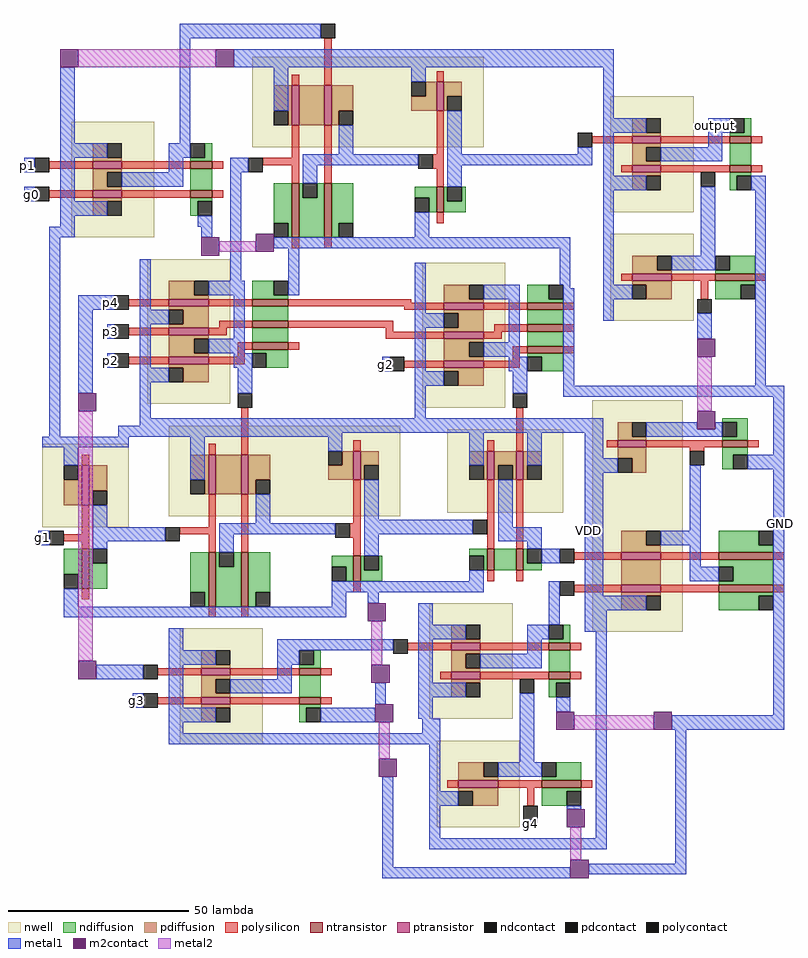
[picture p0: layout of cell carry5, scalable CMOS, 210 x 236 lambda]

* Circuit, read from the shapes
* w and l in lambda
.subckt carry5 GND VDD g0 g1 g2 g3 g4 output p1 p2 p3 p4
M1 n1 g1 GND VSUBS nfet w=11 l=2
M2 n2 g0 GND VSUBS nfet w=6 l=2
M3 n3 p1 n2 VSUBS nfet w=6 l=2
M4 n4 n1 GND VSUBS nfet w=15 l=2
M5 GND n5 n4 VSUBS nfet w=15 l=2
M6 n6 p2 n5 VSUBS nfet w=10 l=2
M7 n7 p3 n6 VSUBS nfet w=10 l=2
M8 GND p4 n7 VSUBS nfet w=10 l=2
M9 n8 n5 GND VSUBS nfet w=15 l=2
M10 n9 g3 GND VSUBS nfet w=6 l=2
M11 n10 p4 n9 VSUBS nfet w=6 l=2
M12 GND n3 n8 VSUBS nfet w=15 l=2
M13 n11 n4 GND VSUBS nfet w=7 l=2
M14 n12 n8 GND VSUBS nfet w=7 l=2
M15 n13 n11 GND VSUBS nfet w=6 l=2
M16 n14 n15 n13 VSUBS nfet w=6 l=2
M17 n16 g2 n15 VSUBS nfet w=10 l=2
M18 n17 p3 n16 VSUBS nfet w=10 l=2
M19 GND p4 n17 VSUBS nfet w=10 l=2
M20 n18 g4 GND VSUBS nfet w=11 l=2
M21 n19 n18 GND VSUBS nfet w=6 l=2
M22 n20 n10 n19 VSUBS nfet w=6 l=2
M23 n21 n22 GND VSUBS nfet w=11 l=2
M24 n23 n20 GND VSUBS nfet w=15 l=2
M25 GND n14 n23 VSUBS nfet w=15 l=2
M26 n22 n23 GND VSUBS nfet w=7 l=2
M27 n24 n21 GND VSUBS nfet w=6 l=2
M28 output n12 n24 VSUBS nfet w=6 l=2
M29 n1 g1 VDD n25 pfet w=11 l=2
M30 n3 g0 VDD n26 pfet w=8 l=2
M31 VDD p1 n3 n26 pfet w=8 l=2
M32 n5 p2 VDD n27 pfet w=11 l=2
M33 VDD p3 n5 n27 pfet w=11 l=2
M34 n5 p4 VDD n27 pfet w=11 l=2
M35 n10 g3 VDD n28 pfet w=8 l=2
M36 VDD p4 n10 n28 pfet w=8 l=2
M37 n29 n1 VDD n30 pfet w=11 l=2
M38 n4 n5 n29 n30 pfet w=11 l=2
M39 n31 n5 VDD n32 pfet w=11 l=2
M40 n8 n3 n31 n32 pfet w=11 l=2
M41 n11 n4 VDD n30 pfet w=8 l=2
M42 n12 n8 VDD n32 pfet w=8 l=2
M43 n15 g2 VDD n33 pfet w=11 l=2
M44 VDD p3 n15 n33 pfet w=11 l=2
M45 n15 p4 VDD n33 pfet w=11 l=2
M46 n20 n18 VDD n34 pfet w=8 l=2
M47 VDD n10 n20 n34 pfet w=8 l=2
M48 n18 g4 VDD n35 pfet w=11 l=2
M49 n14 n11 VDD n36 pfet w=8 l=2
M50 VDD n15 n14 n36 pfet w=8 l=2
M51 n22 n23 VDD n37 pfet w=8 l=2
M52 n38 n20 VDD n37 pfet w=11 l=2
M53 n23 n14 n38 n37 pfet w=11 l=2
M54 n21 n22 VDD n39 pfet w=11 l=2
M55 output n21 VDD n40 pfet w=8 l=2
M56 VDD n12 output n40 pfet w=8 l=2
.ends

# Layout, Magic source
magic
tech scmos
<< nwell >>
rect -206 145 -183 177
rect -156 170 -92 195
rect -57 152 -34 184
rect -185 99 -162 139
rect -109 98 -86 138
rect -57 122 -34 146
rect -214 65 -190 88
rect -179 68 -115 93
rect -102 69 -70 92
rect -176 5 -153 37
rect -107 12 -84 44
rect -62 36 -37 100
rect -105 -18 -82 6
<< ntransistor >>
rect -173 164 -167 166
rect -24 171 -18 173
rect -173 156 -167 158
rect -145 145 -143 160
rect -136 145 -134 160
rect -24 163 -18 165
rect -105 152 -103 159
rect -28 133 -17 135
rect -156 126 -146 128
rect -80 125 -70 127
rect -156 120 -146 122
rect -80 119 -70 121
rect -156 114 -146 116
rect -80 113 -70 115
rect -26 87 -19 89
rect -203 48 -201 59
rect -168 43 -166 58
rect -159 43 -157 58
rect -128 50 -126 57
rect -91 53 -89 59
rect -83 53 -81 59
rect -27 56 -12 58
rect -27 47 -12 49
rect -74 31 -68 33
rect -143 24 -137 26
rect -74 23 -68 25
rect -143 16 -137 18
rect -76 -7 -65 -5
<< ptransistor >>
rect -145 176 -143 187
rect -136 176 -134 187
rect -105 180 -103 188
rect -200 164 -192 166
rect -51 171 -43 173
rect -200 156 -192 158
rect -51 163 -43 165
rect -51 133 -40 135
rect -179 126 -168 128
rect -103 125 -92 127
rect -179 118 -168 120
rect -103 117 -92 119
rect -179 110 -168 112
rect -103 109 -92 111
rect -55 87 -47 89
rect -203 71 -201 82
rect -168 74 -166 85
rect -159 74 -157 85
rect -128 78 -126 86
rect -91 78 -89 86
rect -83 78 -81 86
rect -54 56 -43 58
rect -54 47 -43 49
rect -101 31 -93 33
rect -170 24 -162 26
rect -101 23 -93 25
rect -170 16 -162 18
rect -99 -7 -88 -5
<< ndiffusion >>
rect -169 167 -167 171
rect -173 166 -167 167
rect -173 158 -167 164
rect -20 174 -18 178
rect -24 173 -18 174
rect -24 165 -18 171
rect -173 155 -167 156
rect -173 151 -171 155
rect -150 149 -145 160
rect -146 145 -145 149
rect -143 156 -142 160
rect -138 156 -136 160
rect -143 145 -136 156
rect -134 149 -128 160
rect -111 156 -105 159
rect -107 152 -105 156
rect -103 155 -102 159
rect -98 155 -97 159
rect -24 162 -18 163
rect -24 158 -22 162
rect -103 152 -97 155
rect -134 145 -132 149
rect -24 136 -17 140
rect -28 135 -17 136
rect -156 129 -150 133
rect -156 128 -146 129
rect -80 128 -74 132
rect -28 132 -17 133
rect -28 128 -21 132
rect -80 127 -70 128
rect -156 122 -146 126
rect -156 116 -146 120
rect -80 121 -70 125
rect -156 113 -146 114
rect -152 109 -146 113
rect -80 115 -70 119
rect -80 112 -70 113
rect -76 108 -70 112
rect -26 94 -19 95
rect -22 90 -19 94
rect -26 89 -19 90
rect -26 85 -19 87
rect -26 81 -23 85
rect -208 52 -203 59
rect -204 48 -203 52
rect -201 55 -200 59
rect -201 48 -196 55
rect -173 47 -168 58
rect -169 43 -168 47
rect -166 54 -165 58
rect -161 54 -159 58
rect -166 43 -159 54
rect -157 47 -151 58
rect -96 57 -91 59
rect -134 54 -128 57
rect -130 50 -128 54
rect -126 53 -125 57
rect -121 53 -120 57
rect -92 53 -91 57
rect -89 53 -83 59
rect -81 55 -80 59
rect -27 60 -16 64
rect -27 58 -12 60
rect -81 53 -76 55
rect -126 50 -120 53
rect -157 43 -155 47
rect -27 54 -12 56
rect -23 50 -12 54
rect -27 49 -12 50
rect -27 46 -12 47
rect -27 42 -16 46
rect -139 27 -137 31
rect -70 34 -68 38
rect -74 33 -68 34
rect -143 26 -137 27
rect -74 25 -68 31
rect -143 18 -137 24
rect -74 22 -68 23
rect -74 18 -72 22
rect -143 15 -137 16
rect -143 11 -141 15
rect -72 -4 -65 0
rect -76 -5 -65 -4
rect -76 -8 -65 -7
rect -76 -12 -69 -8
<< pdiffusion >>
rect -150 180 -145 187
rect -146 176 -145 180
rect -143 176 -136 187
rect -134 180 -128 187
rect -108 184 -105 188
rect -112 180 -105 184
rect -103 184 -98 188
rect -103 180 -102 184
rect -134 176 -132 180
rect -200 167 -196 171
rect -200 166 -192 167
rect -200 163 -192 164
rect -200 159 -196 163
rect -200 158 -192 159
rect -51 174 -47 178
rect -51 173 -43 174
rect -51 170 -43 171
rect -51 166 -47 170
rect -51 165 -43 166
rect -200 155 -192 156
rect -200 151 -196 155
rect -51 162 -43 163
rect -51 158 -47 162
rect -51 136 -44 140
rect -51 135 -40 136
rect -179 129 -172 133
rect -179 128 -168 129
rect -51 132 -40 133
rect -103 128 -96 132
rect -103 127 -92 128
rect -47 128 -40 132
rect -179 125 -168 126
rect -175 121 -168 125
rect -103 124 -92 125
rect -179 120 -168 121
rect -179 117 -168 118
rect -179 113 -172 117
rect -99 120 -92 124
rect -103 119 -92 120
rect -103 116 -92 117
rect -179 112 -168 113
rect -179 109 -168 110
rect -103 112 -96 116
rect -175 105 -168 109
rect -103 111 -92 112
rect -103 108 -92 109
rect -99 104 -92 108
rect -55 90 -51 94
rect -55 89 -47 90
rect -204 78 -203 82
rect -208 71 -203 78
rect -201 75 -196 82
rect -201 71 -200 75
rect -173 78 -168 85
rect -169 74 -168 78
rect -166 74 -159 85
rect -157 78 -151 85
rect -131 82 -128 86
rect -135 78 -128 82
rect -126 82 -121 86
rect -126 78 -125 82
rect -96 82 -91 86
rect -92 78 -91 82
rect -89 82 -83 86
rect -89 78 -88 82
rect -84 78 -83 82
rect -81 82 -76 86
rect -81 78 -80 82
rect -55 84 -47 87
rect -51 80 -47 84
rect -157 74 -155 78
rect -54 60 -47 64
rect -54 58 -43 60
rect -54 49 -43 56
rect -54 46 -43 47
rect -54 42 -47 46
rect -101 34 -97 38
rect -170 27 -166 31
rect -170 26 -162 27
rect -101 33 -93 34
rect -101 30 -93 31
rect -101 26 -97 30
rect -101 25 -93 26
rect -170 23 -162 24
rect -170 19 -166 23
rect -170 18 -162 19
rect -101 22 -93 23
rect -101 18 -97 22
rect -170 15 -162 16
rect -170 11 -166 15
rect -99 -4 -92 0
rect -99 -5 -88 -4
rect -99 -8 -88 -7
rect -95 -12 -88 -8
<< ndcontact >>
rect -173 167 -169 171
rect -24 174 -20 178
rect -171 151 -167 155
rect -150 145 -146 149
rect -142 156 -138 160
rect -111 152 -107 156
rect -102 155 -98 159
rect -22 158 -18 162
rect -132 145 -128 149
rect -28 136 -24 140
rect -150 129 -146 133
rect -74 128 -70 132
rect -21 128 -17 132
rect -156 109 -152 113
rect -80 108 -76 112
rect -26 90 -22 94
rect -23 81 -19 85
rect -208 48 -204 52
rect -200 55 -196 59
rect -173 43 -169 47
rect -165 54 -161 58
rect -134 50 -130 54
rect -125 53 -121 57
rect -96 53 -92 57
rect -80 55 -76 59
rect -16 60 -12 64
rect -155 43 -151 47
rect -27 50 -23 54
rect -16 42 -12 46
rect -143 27 -139 31
rect -74 34 -70 38
rect -72 18 -68 22
rect -141 11 -137 15
rect -76 -4 -72 0
rect -69 -12 -65 -8
<< pdcontact >>
rect -150 176 -146 180
rect -112 184 -108 188
rect -102 180 -98 184
rect -132 176 -128 180
rect -196 167 -192 171
rect -196 159 -192 163
rect -47 174 -43 178
rect -47 166 -43 170
rect -196 151 -192 155
rect -47 158 -43 162
rect -44 136 -40 140
rect -172 129 -168 133
rect -96 128 -92 132
rect -51 128 -47 132
rect -179 121 -175 125
rect -172 113 -168 117
rect -103 120 -99 124
rect -96 112 -92 116
rect -179 105 -175 109
rect -103 104 -99 108
rect -51 90 -47 94
rect -208 78 -204 82
rect -200 71 -196 75
rect -173 74 -169 78
rect -135 82 -131 86
rect -125 78 -121 82
rect -96 78 -92 82
rect -88 78 -84 82
rect -80 78 -76 82
rect -55 80 -51 84
rect -155 74 -151 78
rect -47 60 -43 64
rect -47 42 -43 46
rect -97 34 -93 38
rect -166 27 -162 31
rect -97 26 -93 30
rect -166 19 -162 23
rect -97 18 -93 22
rect -166 11 -162 15
rect -92 -4 -88 0
rect -99 -12 -95 -8
<< polysilicon >>
rect -145 187 -143 190
rect -136 187 -134 200
rect -105 188 -103 191
rect -145 167 -143 176
rect -212 164 -200 166
rect -192 164 -173 166
rect -167 164 -164 166
rect -153 165 -143 167
rect -145 160 -143 165
rect -136 160 -134 176
rect -105 168 -103 180
rect -62 171 -51 173
rect -43 171 -24 173
rect -18 171 -15 173
rect -106 164 -103 168
rect -212 156 -200 158
rect -192 156 -173 158
rect -167 156 -164 158
rect -105 159 -103 164
rect -54 163 -51 165
rect -43 163 -24 165
rect -18 163 -15 165
rect -105 149 -103 152
rect -145 142 -143 145
rect -136 142 -134 145
rect -54 133 -51 135
rect -40 133 -28 135
rect -17 133 -14 135
rect -190 126 -179 128
rect -168 126 -156 128
rect -146 127 -112 128
rect -32 128 -30 133
rect -146 126 -103 127
rect -114 125 -103 126
rect -92 125 -80 127
rect -70 125 -67 127
rect -165 120 -156 122
rect -146 120 -117 122
rect -190 118 -179 120
rect -168 118 -163 120
rect -119 119 -117 120
rect -89 119 -80 121
rect -70 119 -67 121
rect -119 117 -103 119
rect -92 117 -87 119
rect -160 114 -156 116
rect -146 114 -143 116
rect -160 112 -158 114
rect -190 110 -179 112
rect -168 110 -158 112
rect -84 113 -80 115
rect -70 113 -67 115
rect -84 111 -82 113
rect -114 109 -103 111
rect -92 109 -82 111
rect -168 85 -166 88
rect -159 85 -157 98
rect -128 86 -126 89
rect -91 86 -89 89
rect -83 86 -81 98
rect -58 87 -55 89
rect -47 87 -26 89
rect -19 87 -16 89
rect -203 82 -201 85
rect -35 86 -31 87
rect -203 63 -201 71
rect -168 65 -166 74
rect -208 61 -201 63
rect -176 63 -166 65
rect -203 59 -201 61
rect -168 58 -166 63
rect -159 58 -157 74
rect -128 66 -126 78
rect -129 62 -126 66
rect -203 45 -201 48
rect -128 57 -126 62
rect -91 59 -89 78
rect -83 59 -81 78
rect -67 56 -54 58
rect -43 56 -27 58
rect -12 56 -9 58
rect -91 50 -89 53
rect -83 50 -81 53
rect -128 47 -126 50
rect -67 47 -54 49
rect -43 47 -27 49
rect -12 47 -9 49
rect -168 40 -166 43
rect -159 40 -157 43
rect -113 31 -101 33
rect -93 31 -74 33
rect -68 31 -65 33
rect -182 24 -170 26
rect -162 24 -143 26
rect -137 24 -134 26
rect -104 23 -101 25
rect -93 23 -74 25
rect -68 23 -65 25
rect -182 16 -170 18
rect -162 16 -143 18
rect -137 16 -134 18
rect -102 -7 -99 -5
rect -88 -7 -76 -5
rect -65 -7 -62 -5
rect -80 -12 -78 -7
<< polycontact >>
rect -137 200 -133 204
rect -216 163 -212 167
rect -216 155 -212 159
rect -157 163 -153 167
rect -66 170 -62 174
rect -110 164 -106 168
rect -32 159 -28 163
rect -194 125 -190 129
rect -194 117 -190 121
rect -33 124 -29 128
rect -194 109 -190 113
rect -118 108 -114 112
rect -160 98 -156 102
rect -84 98 -80 102
rect -35 82 -31 86
rect -212 60 -208 64
rect -180 61 -176 65
rect -133 62 -129 66
rect -95 63 -91 67
rect -71 55 -67 59
rect -71 46 -67 50
rect -186 23 -182 27
rect -117 30 -113 34
rect -186 15 -182 19
rect -82 19 -78 23
rect -81 -16 -77 -12
<< metal1 >>
rect -176 200 -137 204
rect -209 171 -205 192
rect -176 171 -173 200
rect -161 192 -56 197
rect -150 180 -146 192
rect -112 188 -108 192
rect -209 167 -196 171
rect -179 167 -173 171
rect -132 168 -128 176
rect -102 168 -98 180
rect -59 178 -56 192
rect -59 174 -47 178
rect -30 174 -24 178
rect -66 168 -62 170
rect -219 163 -216 167
rect -219 155 -216 159
rect -209 155 -205 167
rect -179 163 -175 167
rect -192 159 -175 163
rect -162 163 -157 167
rect -142 165 -110 168
rect -209 151 -196 155
rect -209 148 -205 151
rect -171 148 -167 151
rect -212 145 -205 148
rect -170 145 -167 148
rect -212 90 -209 145
rect -204 125 -194 129
rect -187 125 -184 139
rect -162 133 -159 163
rect -142 160 -138 165
rect -102 165 -62 168
rect -102 159 -98 165
rect -59 162 -56 174
rect -30 170 -26 174
rect -43 166 -26 170
rect -59 158 -47 162
rect -111 145 -107 152
rect -150 142 -68 145
rect -168 129 -158 133
rect -146 129 -143 142
rect -204 102 -200 125
rect -187 121 -179 125
rect -196 117 -194 121
rect -196 109 -194 113
rect -187 109 -184 121
rect -161 117 -158 129
rect -168 113 -158 117
rect -111 124 -108 138
rect -71 132 -68 142
rect -92 128 -82 132
rect -70 131 -68 132
rect -59 132 -56 158
rect -32 140 -28 159
rect -18 158 -14 162
rect -40 136 -28 140
rect -111 120 -103 124
rect -161 109 -156 113
rect -187 105 -179 109
rect -187 95 -184 105
rect -160 102 -156 109
rect -120 108 -118 112
rect -111 108 -108 120
rect -85 116 -82 128
rect -92 112 -82 116
rect -85 108 -80 112
rect -111 104 -103 108
rect -111 95 -108 104
rect -84 102 -80 108
rect -70 104 -67 131
rect -59 128 -51 132
rect -59 122 -56 128
rect -33 117 -29 124
rect -17 104 -14 158
rect -70 101 -9 104
rect -187 93 -59 95
rect -193 91 -59 93
rect -193 90 -131 91
rect -214 87 -190 90
rect -208 82 -204 87
rect -173 78 -169 90
rect -135 86 -131 90
rect -96 82 -92 91
rect -80 82 -76 91
rect -64 84 -59 91
rect -47 92 -33 94
rect -28 92 -26 94
rect -47 90 -26 92
rect -64 80 -55 84
rect -12 85 -9 101
rect -200 65 -196 71
rect -155 66 -151 74
rect -125 67 -121 78
rect -215 60 -212 64
rect -200 61 -180 65
rect -165 63 -133 66
rect -200 59 -196 61
rect -165 58 -161 63
rect -125 63 -95 67
rect -88 65 -84 78
rect -125 57 -121 63
rect -88 61 -76 65
rect -80 59 -76 61
rect -208 43 -204 48
rect -76 55 -71 59
rect -96 50 -92 53
rect -134 47 -92 50
rect -134 43 -130 47
rect -208 40 -130 43
rect -124 44 -121 47
rect -110 38 -106 44
rect -74 38 -71 50
rect -64 46 -59 80
rect -35 64 -32 82
rect -19 81 -9 85
rect -43 60 -32 64
rect -35 54 -32 60
rect -35 50 -27 54
rect -64 42 -47 46
rect -179 31 -175 37
rect -110 34 -97 38
rect -80 34 -74 38
rect -64 36 -58 42
rect -149 31 -117 34
rect -179 27 -166 31
rect -149 27 -143 31
rect -199 23 -186 27
rect -189 15 -186 19
rect -179 15 -175 27
rect -149 23 -145 27
rect -162 19 -145 23
rect -110 22 -106 34
rect -80 30 -76 34
rect -93 26 -76 30
rect -122 16 -119 22
rect -110 18 -97 22
rect -179 11 -166 15
rect -137 11 -122 15
rect -110 12 -106 18
rect -179 8 -175 11
rect -109 8 -104 12
rect -179 5 -104 8
rect -120 -29 -117 -4
rect -107 -8 -104 5
rect -82 0 -78 19
rect -72 14 -68 18
rect -88 -4 -76 0
rect -107 -12 -99 -8
rect -107 -21 -104 -12
rect -81 -18 -77 -16
rect -69 -13 -65 -12
rect -61 -21 -58 36
rect -12 13 -9 81
rect -40 9 -9 13
rect -107 -24 -58 -21
rect -120 -32 -68 -29
rect -39 -28 -36 9
rect -63 -31 -36 -28
<< m2contact >>
rect -209 192 -204 197
rect -166 192 -161 197
rect -170 140 -165 145
rect -155 141 -150 146
rect -204 97 -199 102
rect -33 112 -28 117
rect -33 92 -28 97
rect -124 39 -119 44
rect -204 23 -199 28
rect -123 22 -118 27
rect -122 11 -117 16
rect -121 -4 -116 1
rect -72 9 -67 14
rect -69 -18 -64 -13
rect -45 9 -40 14
rect -68 -32 -63 -27
<< metal2 >>
rect -204 192 -166 197
rect -165 141 -155 144
rect -33 97 -29 112
rect -204 28 -200 97
rect -123 27 -120 39
rect -121 1 -118 11
rect -67 9 -45 13
rect -68 -27 -65 -18
<< labels >>
rlabel metal1 -10 66 -10 66 7 GND
rlabel metal1 -63 64 -63 64 1 VDD
rlabel metal1 -214 62 -214 62 3 g1
rlabel metal1 -195 111 -195 111 1 p2
rlabel metal1 -195 119 -195 119 1 p3
rlabel metal1 -195 127 -195 127 1 p4
rlabel metal1 -119 110 -119 110 1 g2
rlabel metal1 -188 17 -188 17 1 g3
rlabel metal1 -79 -17 -79 -17 1 g4
rlabel metal1 -218 165 -218 165 3 p1
rlabel metal1 -217 157 -217 157 3 g0
rlabel metal1 -28 176 -28 176 1 output
<< end >>
